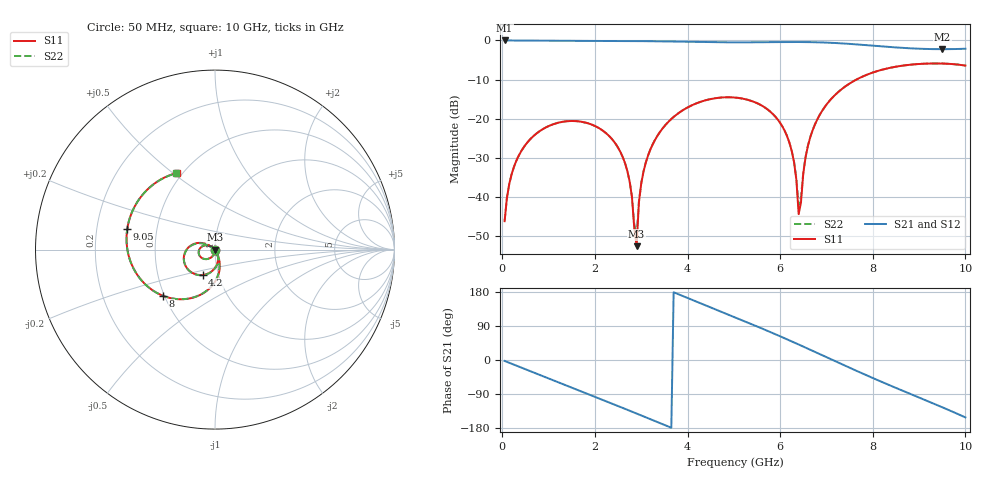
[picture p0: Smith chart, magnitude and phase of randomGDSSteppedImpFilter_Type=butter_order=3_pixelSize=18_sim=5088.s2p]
! freq	dB(S11)	phase(S11)	dB(S12)	phase(S12)
!  dB(S21)	phase(S21)	dB(S22)	phase(S22)
!S-par simulation data
#  GHz  S  DB  R 50
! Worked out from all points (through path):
!   200 points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, 50 MHz to 10 GHz, reference 50 ohm
!   highest |S21| = 0.00 dB at 50 MHz (marker M1); lowest = -2.2 dB at 9.5 GHz (marker M2)
!   group delay of S21, straight-line fit = 143 ps
!   lowest |S11| = -52.7 dB at 2.9 GHz (marker M3), VSWR 1.00, Z = 50.2 - j0.115 ohm
!   |S11| at or under -10 dB: start of sweep to 7.649 GHz
!   |S22| runs from -49.8 to -5.9 dB; largest |S21 - S12| = 0
!   S11 on the Smith chart (normalised r, x): 50 MHz: 1.00, -0.01; 4.2 GHz: 0.84, -0.24; 8 GHz: 0.49, -0.30; 9.05 GHz: 0.34, +0.10; 10 GHz: 0.47, +0.51
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0.05  -46.26 -91.8  -0.00 -2.5  -0.00 -2.5  -46.26 -91.8
0.2  -34.31 -99.6  -0.02 -9.8  -0.02 -9.8  -34.31 -99.7
0.5  -26.73 -114.8  -0.04 -24.4  -0.04 -24.4  -26.73 -114.9
1.75  -20.90 -176.0  -0.13 -84.8  -0.13 -84.8  -20.90 -176.4
2.6  -29.83 141.7  -0.15 -126.4  -0.15 -126.4  -29.82 139.5
2.75  -36.09 133.1  -0.16 -133.8  -0.16 -133.8  -36.03 128.1
2.9  -52.66 -29.4  -0.17 -141.3  -0.17 -141.3  -49.80 -2.0
2.95  -41.49 -50.1  -0.17 -143.8  -0.17 -143.8  -41.21 -39.7
3.05  -33.53 -57.7  -0.18 -148.7  -0.18 -148.7  -33.47 -53.3
3.4  -23.50 -76.2  -0.22 -166.2  -0.22 -166.2  -23.49 -74.6
4.2  -16.06 -116.1  -0.38 153.8  -0.38 153.8  -16.05 -115.3
5.05  -14.64 -158.0  -0.49 111.5  -0.49 111.5  -14.64 -157.2
6.05  -22.06 152.4  -0.41 59.9  -0.41 59.9  -22.05 154.4
6.3  -31.18 144.3  -0.40 46.4  -0.40 46.4  -31.05 149.5
6.4  -44.46 173.9  -0.40 40.9  -0.40 40.9  -42.11 -172.7
6.55  -29.82 -64.6  -0.42 32.6  -0.42 32.6  -29.71 -68.8
6.7  -23.02 -69.1  -0.44 24.3  -0.44 24.3  -23.00 -70.9
8  -8.21 -138.6  -1.33 -47.6  -1.33 -47.6  -8.21 -138.7
8.35  -7.06 -157.1  -1.66 -65.9  -1.66 -65.9  -7.06 -157.1
9.05  -5.99 166.9  -2.14 -101.6  -2.14 -101.6  -5.98 167.0
9.5  -5.91 143.6  -2.24 -124.7  -2.24 -124.7  -5.91 143.9
10  -6.43 116.7  -2.12 -151.5  -2.12 -151.5  -6.43 117.1
